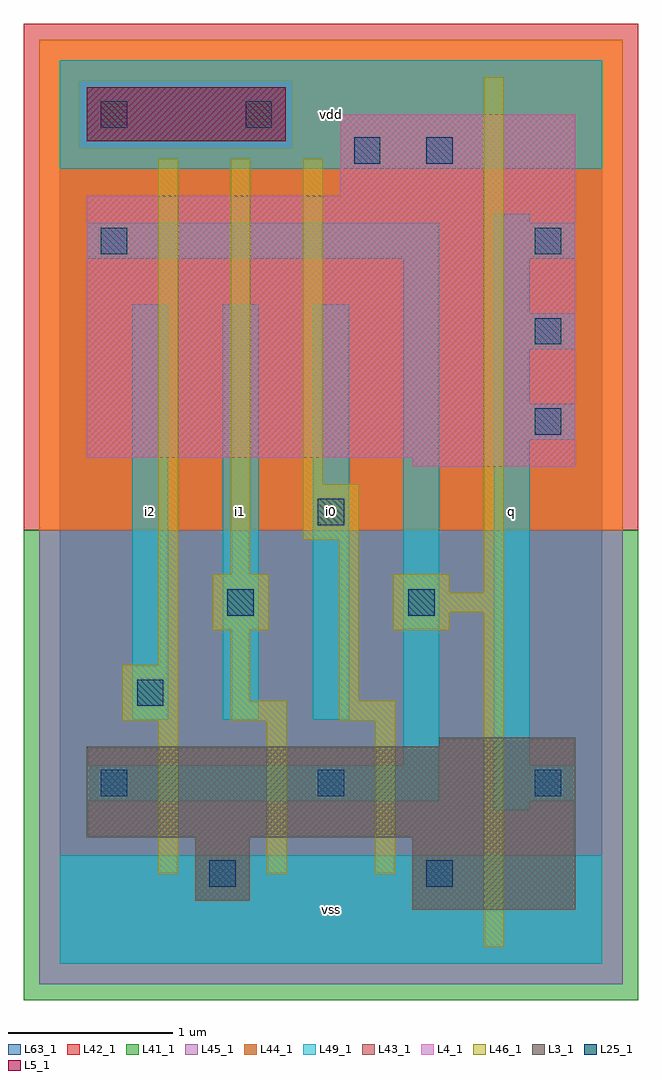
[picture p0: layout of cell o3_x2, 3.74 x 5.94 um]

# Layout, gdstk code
import gdstk
lib = gdstk.Library(unit=1e-6, precision=1e-09)
def R(c, l, rs):  # rectangles x0, y0, x1, y1
    for r in rs: c.add(gdstk.rectangle(r[:2], r[2:], *l))
def A(c, l, x, y, w, h, nx, ny, dx, dy):  # array of equal rectangles
    R(c, l, [(x+i*dx, y+j*dy, x+i*dx+w, y+j*dy+h) for i in range(nx) for j in range(ny)])
L3_1 = (3, 1)
L4_1 = (4, 1)
L5_1 = (5, 1)
L25_1 = (25, 1)
L41_1 = (41, 1)
L42_1 = (42, 1)
L43_1 = (43, 1)
L44_1 = (44, 1)
L45_1 = (45, 1)
L46_1 = (46, 1)
L49_1 = (49, 1)
L63_1 = (63, 1)

o3_x2 = lib.new_cell('o3_x2')
R(o3_x2, L3_1, [(2.145,0.33,3.135,0.77), (0.825,0.385,1.155,0.77), (0.165,0.77,3.135,1.32), (2.31,1.32,3.135,1.375)])
R(o3_x2, L4_1, [(2.145,3.025,3.135,3.08), (0.165,3.08,3.135,4.675), (1.705,4.675,3.135,5.17)])
R(o3_x2, L5_1, [(0.165,5.005,1.375,5.335)])
A(o3_x2, L25_1, 0.25, 1.02, 0.16, 0.16, 3, 1, 1.32, 0)
A(o3_x2, L25_1, 2.89, 3.22, 0.16, 0.16, 1, 3, 0, 0.55)
R(o3_x2, L25_1, [(0.91,0.47,1.07,0.63), (2.23,0.47,2.39,0.63), (0.47,1.57,0.63,1.73), (1.02,2.12,1.18,2.28), (2.12,2.12,2.28,2.28), (1.57,2.67,1.73,2.83), (0.25,4.32,0.41,4.48), (1.79,4.87,1.95,5.03), (2.23,4.87,2.39,5.03), (0.25,5.09,0.41,5.25), (1.13,5.09,1.29,5.25)])
R(o3_x2, L41_1, [(-0.22,-0.22,3.52,2.64)])
R(o3_x2, L42_1, [(-0.22,2.64,3.52,5.72)])
R(o3_x2, L43_1, [(2.145,0.33,3.135,0.77), (0.825,0.385,1.155,0.77), (0.165,0.77,3.135,1.32), (2.31,1.32,3.135,1.375), (2.145,3.025,3.135,3.08), (0.165,3.08,3.135,4.675), (1.705,4.675,3.135,5.17), (0.165,5.005,1.375,5.335)])
R(o3_x2, L44_1, [(-0.125,2.64,3.425,4.965), (-0.125,4.965,0.125,5.375), (1.415,4.965,3.425,5.375), (-0.125,5.375,3.425,5.625)])
R(o3_x2, L45_1, [(-0.125,-0.125,3.425,2.64), (0.125,4.965,1.415,5.375)])
A(o3_x2, L46_1, 0.6, 0.545, 0.12, 0.935, 3, 1, 0.66, 0)
R(o3_x2, L46_1, [(2.58,0.105,2.7,2.14), (0.38,1.48,0.72,1.82), (1.04,1.48,1.38,1.6), (1.7,1.48,2.04,1.6), (1.04,1.6,1.16,2.03), (1.7,1.6,1.82,2.58), (0.6,1.82,0.72,4.9), (0.93,2.03,1.27,2.37), (2.03,2.03,2.37,2.14), (2.03,2.14,2.7,2.26), (2.03,2.26,2.37,2.37), (2.58,2.26,2.7,5.395), (1.04,2.37,1.16,4.9), (1.48,2.58,1.82,2.92), (1.48,2.92,1.6,4.9)])
A(o3_x2, L49_1, 0.44, 1.485, 0.22, 2.53, 3, 1, 0.55, 0)
A(o3_x2, L49_1, 2.64, 3.19, 0.495, 0.22, 1, 3, 0, 0.55)
R(o3_x2, L49_1, [(0,0,3.3,0.66), (2.64,0.935,2.86,0.99), (0.165,0.99,2.31,1.21), (2.64,0.99,3.135,1.21), (2.09,1.21,2.31,4.29), (2.64,1.21,2.86,3.19), (2.64,3.41,2.86,3.74), (2.64,3.96,2.86,4.29), (0.165,4.29,2.31,4.51), (2.64,4.51,2.86,4.565), (0,4.84,3.3,5.5)])
R(o3_x2, L63_1, [(0,0,3.3,5.5)])
o3_x2.add(gdstk.Label('i2', (0.55,2.75), layer=49, texttype=1))
o3_x2.add(gdstk.Label('i1', (1.1,2.75), layer=49, texttype=1))
o3_x2.add(gdstk.Label('vss', (1.65,0.33), layer=49, texttype=1))
o3_x2.add(gdstk.Label('i0', (1.65,2.75), layer=49, texttype=1))
o3_x2.add(gdstk.Label('vdd', (1.65,5.17), layer=49, texttype=1))
o3_x2.add(gdstk.Label('q', (2.75,2.75), layer=49, texttype=1))

lib.write_gds('o3_x2.gds')
